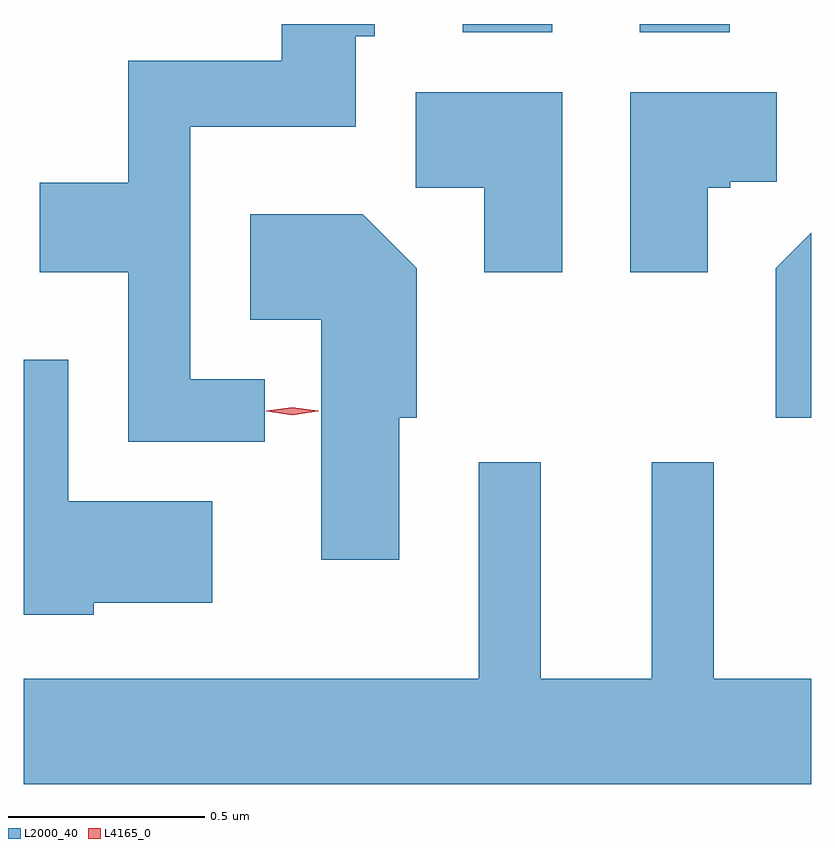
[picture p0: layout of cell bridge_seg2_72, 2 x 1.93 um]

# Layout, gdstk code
import gdstk
lib = gdstk.Library(unit=1e-6, precision=1e-09)
def R(c, l, rs):  # rectangles x0, y0, x1, y1
    for r in rs: c.add(gdstk.rectangle(r[:2], r[2:], *l))
def P(c, l, *ps):  # polygons
    for p in ps: c.add(gdstk.Polygon(p, *l))
L2000_40 = (2000, 40)
L4165_0 = (4165, 0)

bridge_seg2_72 = lib.new_cell('bridge_seg2_72')
R(bridge_seg2_72, L2000_40, [(1130.621,1099.066,1130.849,1099.087), (1131.071,1099.066,1131.299,1099.087)])
P(bridge_seg2_72, L2000_40, [(1130.118,1098.184),(1129.929,1098.184),(1129.929,1098.826),(1130.349,1098.826),(1130.349,1099.056),(1130.398,1099.056),(1130.398,1099.087),(1130.161,1099.087),(1130.161,1098.994),(1129.771,1098.994),(1129.771,1098.684),(1129.546,1098.684),(1129.546,1098.456),(1129.771,1098.456),(1129.771,1098.026),(1130.118,1098.026)],
  [(1131.244,1098.671),(1131.3,1098.671),(1131.3,1098.686),(1131.419,1098.686),(1131.419,1098.914),(1131.046,1098.914),(1131.046,1098.456),(1131.244,1098.456)],
  [(1130.874,1098.914),(1130.501,1098.914),(1130.501,1098.671),(1130.676,1098.671),(1130.676,1098.456),(1130.874,1098.456)],
  [(1130.459,1098.086),(1130.504,1098.086),(1130.504,1098.467),(1130.367,1098.604),(1130.081,1098.604),(1130.081,1098.336),(1130.261,1098.336),(1130.261,1097.726),(1130.459,1097.726)],
  [(1131.506,1098.556),(1131.416,1098.467),(1131.416,1098.086),(1131.506,1098.086)],
  [(1129.684,1097.616),(1129.984,1097.616),(1129.984,1097.874),(1129.619,1097.874),(1129.619,1098.234),(1129.506,1098.234),(1129.506,1097.586),(1129.684,1097.586)],
  [(1131.506,1097.424),(1131.259,1097.424),(1131.259,1097.973),(1131.101,1097.973),(1131.101,1097.424),(1130.819,1097.424),(1130.819,1097.973),(1130.661,1097.973),(1130.661,1097.424),(1129.506,1097.424),(1129.506,1097.156),(1131.506,1097.156)])
P(bridge_seg2_72, L4165_0, [(1130.188,1098.093),(1130.122,1098.103),(1130.122,1098.103),(1130.122,1098.104),(1130.188,1098.113),(1130.254,1098.104),(1130.255,1098.103),(1130.254,1098.103)])

lib.write_gds('bridge_seg2_72.gds')
